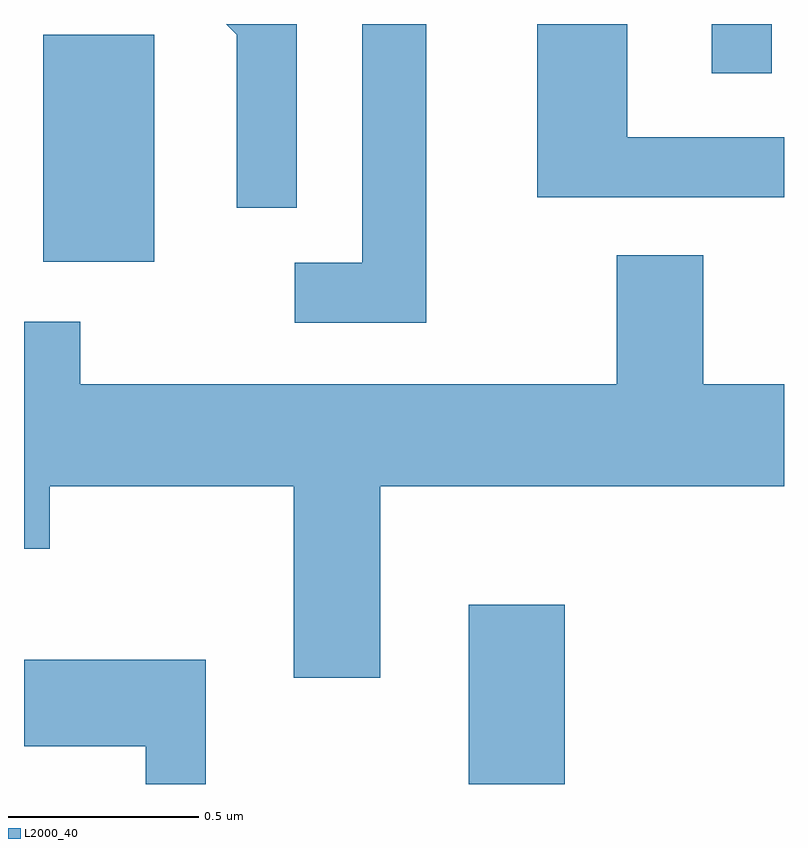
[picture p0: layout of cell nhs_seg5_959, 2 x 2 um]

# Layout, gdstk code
import gdstk
lib = gdstk.Library(unit=1e-6, precision=1e-09)
def R(c, l, rs):  # rectangles x0, y0, x1, y1
    for r in rs: c.add(gdstk.rectangle(r[:2], r[2:], *l))
def P(c, l, *ps):  # polygons
    for p in ps: c.add(gdstk.Polygon(p, *l))
L2000_40 = (2000, 40)

nhs_seg5_959 = lib.new_cell('nhs_seg5_959')
R(nhs_seg5_959, L2000_40, [(193.781,1396.072,194.034,1396.544), (192.661,1397.446,192.954,1398.044), (194.421,1397.943,194.579,1398.072)])
P(nhs_seg5_959, L2000_40, [(193.669,1398.072),(193.501,1398.072),(193.501,1397.444),(193.323,1397.444),(193.323,1397.286),(193.669,1397.286)],
  [(193.329,1398.072),(193.143,1398.072),(193.171,1398.044),(193.171,1397.588),(193.329,1397.588)],
  [(194.611,1397.774),(194.199,1397.774),(194.199,1398.072),(193.961,1398.072),(193.961,1397.616),(194.611,1397.616)],
  [(193.549,1396.856),(194.611,1396.856),(194.611,1397.124),(194.399,1397.124),(194.399,1397.464),(194.171,1397.464),(194.171,1397.124),(192.759,1397.124),(192.759,1397.289),(192.611,1397.289),(192.611,1396.691),(192.679,1396.691),(192.679,1396.856),(193.321,1396.856),(193.321,1396.351),(193.549,1396.351)],
  [(193.089,1396.399),(192.611,1396.399),(192.611,1396.171),(192.931,1396.171),(192.931,1396.072),(193.089,1396.072)])

lib.write_gds('nhs_seg5_959.gds')
